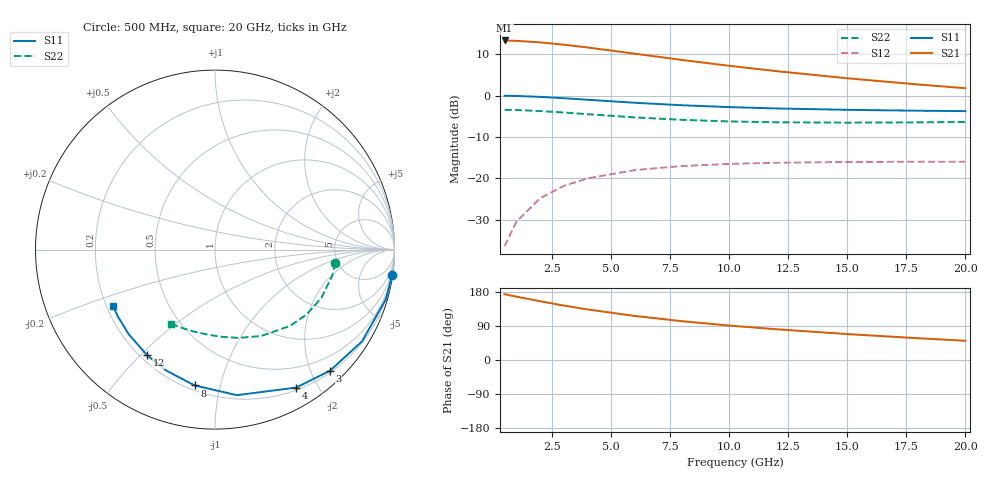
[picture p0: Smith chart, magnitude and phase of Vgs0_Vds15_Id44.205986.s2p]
# Hz S RI R 50
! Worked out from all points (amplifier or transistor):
!   12 points, 500 MHz to 20 GHz, reference 50 ohm
!   highest |S21| = 13.3 dB at 500 MHz (marker M1)
!   |S21| within 3 dB of that: start of sweep to 5.742 GHz
!   unconditionally stable (mu >= 1): 19.87 GHz to end of sweep
!   at 2 GHz: K = 0.10, MSG = 18.8 dB, |S12| = -24.8 dB
!   at 8 GHz: K = 0.39, MSG = 12.8 dB, |S12| = -17.0 dB
!   at 20 GHz: K = 1.01, MAG = 8.4 dB, |S12| = -16.0 dB
!   S11 on the Smith chart (normalised r, x): 500 MHz: 0, -14; 3 GHz: 0.23, -2.31; 4 GHz: 0.23, -1.73; 8 GHz: 0.23, -0.83; 12 GHz: 0.23, -0.52; 20 GHz: 0.23, -0.25
5e8  0.9874 -0.1423  -4.609 0.5189  0.00147 0.0151  0.6703 -0.0738
1e9  0.9509 -0.2783  -4.474 1.014  0.00574 0.0295  0.6535 -0.1448
2e9  0.8192 -0.5111  -3.985 1.858  0.0211 0.0536  0.5925 -0.2692
3e9  0.6413 -0.6743  -3.326 2.442  0.0417 0.0694  0.5094 -0.3623
4e9  0.4522 -0.7687  -2.629 2.769  0.0635 0.0771  0.4199 -0.4243
6e9  0.1219 -0.811  -1.422 2.879  0.1009 0.0755  0.2581 -0.4812
8e9  -0.1136 -0.7568  -0.5807 2.635  0.1263 0.0627  0.1334 -0.4921
1e10  -0.2717 -0.6739  -0.0383 2.292  0.142 0.0471  0.0391 -0.4862
1.2e10  -0.3782 -0.5887  0.3053 1.952  0.1512 0.0319  -0.0355 -0.4749
1.5e10  -0.4799 -0.4726  0.596 1.506  0.1576 0.0115  -0.1259 -0.4545
1.8e10  -0.5411 -0.3731  0.7337 1.148  0.1589 -0.0055  -0.2008 -0.4309
2e10  -0.5683 -0.3145  0.777 0.9522  0.1583 -0.0152  -0.2449 -0.4131
